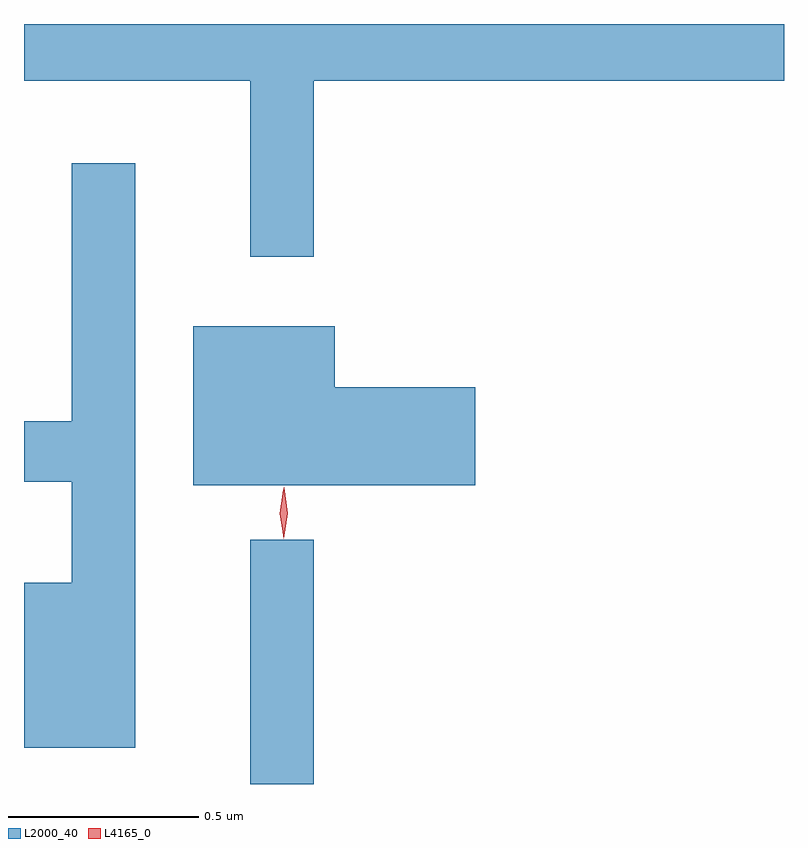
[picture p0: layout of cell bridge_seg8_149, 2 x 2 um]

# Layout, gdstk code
import gdstk
lib = gdstk.Library(unit=1e-6, precision=1e-09)
def R(c, l, rs):  # rectangles x0, y0, x1, y1
    for r in rs: c.add(gdstk.rectangle(r[:2], r[2:], *l))
def P(c, l, *ps):  # polygons
    for p in ps: c.add(gdstk.Polygon(p, *l))
L2000_40 = (2000, 40)
L4165_0 = (4165, 0)

bridge_seg8_149 = lib.new_cell('bridge_seg8_149')
R(bridge_seg8_149, L2000_40, [(1775.561,1812.365,1775.729,1813.008)])
P(bridge_seg8_149, L2000_40, [(1775.729,1814.216),(1776.966,1814.216),(1776.966,1814.365),(1774.966,1814.365),(1774.966,1814.216),(1775.561,1814.216),(1775.561,1813.753),(1775.729,1813.753)],
  [(1775.259,1813.998),(1775.091,1813.998),(1775.091,1813.319),(1774.966,1813.319),(1774.966,1813.161),(1775.091,1813.161),(1775.091,1812.894),(1774.966,1812.894),(1774.966,1812.461),(1775.259,1812.461)],
  [(1776.154,1813.409),(1775.784,1813.409),(1775.784,1813.569),(1775.411,1813.569),(1775.411,1813.151),(1776.154,1813.151)])
P(bridge_seg8_149, L4165_0, [(1775.649,1813.013),(1775.649,1813.013),(1775.639,1813.076),(1775.648,1813.139),(1775.649,1813.14),(1775.649,1813.139),(1775.659,1813.076),(1775.65,1813.013)],
  [(1775.649,1813.01),(1775.649,1813.01),(1775.64,1813.078),(1775.65,1813.145),(1775.651,1813.146),(1775.651,1813.145),(1775.66,1813.078),(1775.65,1813.01)])

lib.write_gds('bridge_seg8_149.gds')
